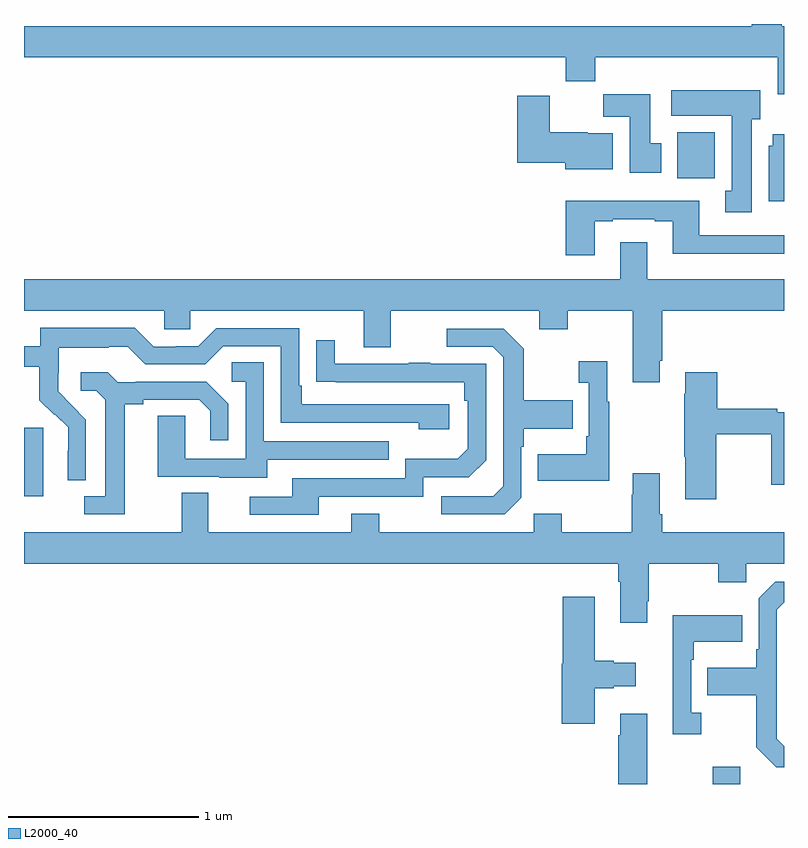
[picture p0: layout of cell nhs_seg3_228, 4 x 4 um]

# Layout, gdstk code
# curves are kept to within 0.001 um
import gdstk
lib = gdstk.Library(unit=1e-6, precision=1e-09)
def R(c, l, rs):  # rectangles x0, y0, x1, y1
    for r in rs: c.add(gdstk.rectangle(r[:2], r[2:], *l))
def P(c, l, *ps):  # polygons
    for p in ps: c.add(gdstk.Polygon(p, *l))
L2000_40 = (2000, 40)

nhs_seg3_228 = lib.new_cell('nhs_seg3_228')
R(nhs_seg3_228, L2000_40, [(124.624,722.4,124.771,722.491), (121,723.914,121.102,724.275), (124.439,725.588,124.636,725.83)])
P(nhs_seg3_228, L2000_40, [(125,726.388),(124.989,726.388),(124.989,726.4),(124.829,726.4),(124.829,726.388),(121,726.388),(121,726.224),(123.851,726.224),(123.851,726.1),(124.007,726.1),(124.007,726.224),(124.967,726.224),(124.967,726.03),(125,726.03)],
  [(124.831,725.898),(124.876,725.898),(124.876,726.052),(124.407,726.052),(124.407,725.918),(124.724,725.918),(124.724,725.522),(124.691,725.522),(124.691,725.409),(124.831,725.409)],
  [(124.354,725.772),(124.297,725.772),(124.297,726.031),(124.048,726.031),(124.048,725.912),(124.187,725.912),(124.187,725.616),(124.354,725.616)],
  [(124.099,725.824),(123.966,725.824),(123.966,725.83),(123.766,725.83),(123.766,726.022),(123.596,726.022),(123.596,725.669),(123.848,725.669),(123.848,725.636),(124.099,725.636)],
  [(125,725.821),(124.94,725.821),(124.94,725.76),(124.919,725.76),(124.919,725.468),(125,725.468)],
  [(124.003,725.361),(124.099,725.361),(124.099,725.373),(124.319,725.373),(124.319,725.361),(124.415,725.361),(124.415,725.192),(125,725.192),(125,725.289),(124.555,725.289),(124.555,725.47),(123.851,725.47),(123.851,725.184),(124.003,725.184)],
  [(124.345,724.627),(124.358,724.627),(124.358,724.892),(125,724.892),(125,725.056),(124.279,725.056),(124.279,725.251),(124.139,725.251),(124.139,725.056),(121,725.056),(121,724.892),(121.737,724.892),(121.737,724.794),(121.875,724.794),(121.875,724.892),(122.789,724.892),(122.789,724.698),(122.929,724.698),(122.929,724.892),(123.713,724.892),(123.713,724.793),(123.861,724.793),(123.861,724.892),(124.205,724.892),(124.205,724.515),(124.345,724.515)],
  [(121.326,724.318),(121.18,724.466),(121.18,724.563),(121.182,724.563),(121.182,724.697),(121.445,724.697),(121.445,724.701),(121.545,724.701),(121.638,724.608),(121.953,724.608),(122.049,724.704),(122.352,724.704),(122.352,724.302),(123.077,724.302),(123.077,724.268),(123.238,724.268),(123.238,724.398),(122.461,724.398),(122.461,724.495),(122.448,724.495),(122.448,724.8),(122.013,724.8),(121.917,724.704),(121.799,724.704),(121.799,724.701),(121.683,724.701),(121.583,724.801),(121.086,724.801),(121.086,724.704),(121,724.704),(121,724.596),(121.081,724.596),(121.081,724.421),(121.158,724.344),(121.161,724.347),(121.232,724.277),(121.232,724.154),(121.23,724.154),(121.23,724),(121.326,724)],
  [(123.618,723.906),(123.618,724.175),(123.631,724.175),(123.631,724.271),(123.887,724.271),(123.887,724.419),(123.631,724.419),(123.631,724.691),(123.525,724.797),(123.225,724.797),(123.225,724.701),(123.468,724.701),(123.522,724.647),(123.522,723.966),(123.471,723.915),(123.195,723.915),(123.195,723.819),(123.531,723.819)],
  [(122.551,723.912),(123.102,723.912),(123.102,724.014),(123.342,724.014),(123.432,724.104),(123.432,724.611),(123.137,724.611),(123.137,724.616),(123.025,724.616),(123.025,724.611),(122.635,724.611),(122.635,724.735),(122.539,724.735),(122.539,724.516),(123.316,724.515),(123.316,724.418),(123.336,724.418),(123.336,724.164),(123.283,724.111),(123.006,724.111),(123.006,724.008),(122.411,724.008),(122.411,723.912),(122.187,723.912),(122.187,723.816),(122.551,723.816)],
  [(124.081,724.411),(124.069,724.411),(124.069,724.624),(123.921,724.624),(123.921,724.511),(123.972,724.511),(123.972,724.231),(123.96,724.231),(123.96,724.135),(123.703,724.135),(123.703,723.995),(124.081,723.995)],
  [(122.281,724.107),(122.921,724.107),(122.921,724.203),(122.262,724.203),(122.262,724.619),(122.094,724.619),(122.094,724.518),(122.166,724.518),(122.166,724.113),(121.848,724.113),(121.848,724.337),(121.703,724.337),(121.703,724.017),(122.027,724.017),(122.027,724.013),(122.281,724.013)],
  [(121.531,724.4),(121.627,724.4),(121.627,724.422),(121.922,724.422),(121.979,724.365),(121.979,724.209),(122.076,724.209),(122.076,724.402),(121.96,724.518),(121.588,724.518),(121.588,724.515),(121.494,724.515),(121.442,724.567),(121.299,724.567),(121.299,724.47),(121.38,724.47),(121.427,724.423),(121.427,723.915),(121.317,723.915),(121.317,723.819),(121.531,723.819)],
  [(124.644,724.24),(124.933,724.24),(124.933,723.975),(125,723.975),(125,724.356),(124.964,724.356),(124.964,724.376),(124.649,724.376),(124.649,724.567),(124.481,724.567),(124.481,724.454),(124.474,724.454),(124.474,724.123),(124.481,724.123),(124.481,723.9),(124.644,723.9)],
  [(124.279,723.361),(124.287,723.361),(124.287,723.56),(124.654,723.56),(124.654,723.461),(124.8,723.461),(124.8,723.56),(125,723.56),(125,723.724),(124.358,723.724),(124.358,723.82),(124.345,723.82),(124.345,724.036),(124.205,724.036),(124.205,723.923),(124.198,723.923),(124.198,723.724),(123.831,723.724),(123.831,723.823),(123.684,723.823),(123.684,723.724),(122.871,723.724),(122.871,723.823),(122.723,723.823),(122.723,723.724),(121.969,723.724),(121.969,723.932),(121.829,723.932),(121.829,723.724),(121,723.724),(121,723.56),(124.127,723.56),(124.127,723.464),(124.139,723.464),(124.139,723.249),(124.279,723.249)],
  [(125,722.599),(124.962,722.637),(124.962,723.318),(125,723.356),(125,723.465),(124.953,723.465),(124.866,723.378),(124.866,723.109),(124.854,723.109),(124.854,723.013),(124.597,723.013),(124.597,722.866),(124.854,722.866),(124.854,722.593),(124.959,722.487),(125,722.487)],
  [(124.003,722.903),(124.103,722.903),(124.103,722.915),(124.219,722.915),(124.219,723.037),(124.103,723.037),(124.103,723.05),(124.003,723.05),(124.003,723.385),(123.836,723.385),(123.836,723.033),(123.83,723.033),(123.83,722.718),(124.003,722.718)],
  [(124.564,722.774),(124.512,722.774),(124.512,723.053),(124.525,723.053),(124.525,723.149),(124.781,723.149),(124.781,723.289),(124.415,723.289),(124.415,722.661),(124.564,722.661)],
  [(124.279,722.77),(124.139,722.77),(124.139,722.657),(124.127,722.657),(124.127,722.4),(124.279,722.4)])

lib.write_gds('nhs_seg3_228.gds')
